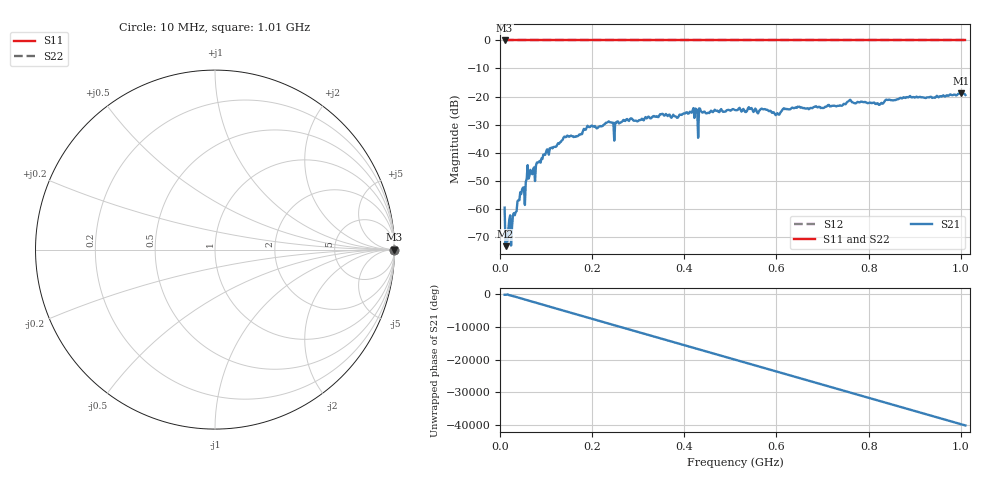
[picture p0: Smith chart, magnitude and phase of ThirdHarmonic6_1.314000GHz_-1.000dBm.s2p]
! 8/16/2025 2:33:46 PM
! C:\ANRITSUVNA\TEMP\TEMP.S2P
! CHANNEL.1
! TR.MEASUREMENT
! RAW.DATA
! RF.CORRECTION.OFF
! AVERAGING.OFF
! IF.BANDWIDTH: 5KHZ
! SWEEPTYPE:  FREQ.SWEEP(Linear)
! Reference Plane Port Info
! PORT:  PORT1  PORT2
! DISTANCE:  0  m  0  m
! TIME:  0  s  0  s
! PHASE.OFFSET:  0  deg.  0  deg.
! LOSS:  0  dB  0  dB
! REF.LOSS:  0  dB  0  dB
! REF.FREQ:  0  Hz  0  Hz
! Power Info
! POWER:  -20  dBm  -20  dBm
! EFF.POWER:  -20  dBm  -20  dBm
! SOURCE.ATTEN:  0  dB  0  dB
! TEST.ATTEN:  0  dB  0  dB
# GHZ S RI R 50.0
! FREQ.GHZ  S11RE  S11IM  S21RE  S21IM  S12RE  S12IM  S22RE  S22IM
!; PortSelection: Port_12
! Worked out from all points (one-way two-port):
!   501 points, 10 MHz to 1.01 GHz, reference 50 ohm
!   highest |S21| = -18.79 dB at 1 GHz (marker M1); lowest = -73.4 dB at 12 MHz (marker M2)
!   lowest |S11| = 0.0 dB at 10 MHz (marker M3)
!   |S11| at or under -10 dB: nowhere
!   |S22| runs from 0.0 to 0.0 dB; largest |S21 - S12| = 1.1
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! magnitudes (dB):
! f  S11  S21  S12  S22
! 10 MHz  0.0  -59.6  0.0  0.0
! 12 MHz  0.0  -73.4  0.0  0.0
! 16 MHz  0.0  -71.7  0.0  0.0
! 18 MHz  0.0  -67.4  0.0  0.0
! 28 MHz  0.0  -62.4  0.0  0.0
! 42 MHz  0.0  -57.0  0.0  0.0
! 54 MHz  0.0  -58.7  0.0  0.0
! 64 MHz  0.0  -48.3  0.0  0.0
! 72 MHz  0.0  -45.8  0.0  0.0
! 98 MHz  0.0  -40.8  0.0  0.0
! 142 MHz  0.0  -34.5  0.0  0.0
! 178 MHz  0.0  -33.4  0.0  0.0
! 234 MHz  0.0  -29.1  0.0  0.0
! 248 MHz  0.0  -35.8  0.0  0.0
! 344 MHz  0.0  -27.3  0.0  0.0
! 510 MHz  0.0  -24.8  0.0  0.0
! 602 MHz  0.0  -25.9  0.0  0.0
! 618 MHz  0.0  -24.5  0.0  0.0
! 678 MHz  0.0  -24.1  0.0  0.0
! 844 MHz  0.0  -21.1  0.0  0.0
! 1 GHz  0.0  -18.8  0.0  0.0
! 1.01 GHz  0.0  -19.5  0.0  0.0
